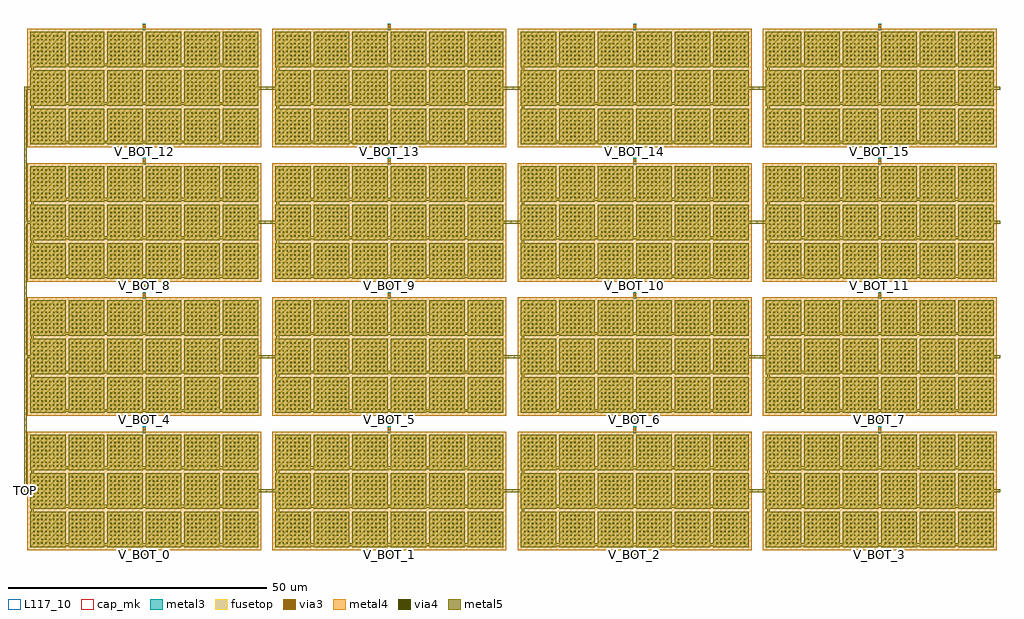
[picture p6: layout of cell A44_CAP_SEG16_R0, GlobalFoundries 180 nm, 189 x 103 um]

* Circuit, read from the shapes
.subckt A44_CAP_SEG16_R0 TOP V_BOT_0 V_BOT_1 V_BOT_10 V_BOT_11 V_BOT_12 V_BOT_13 V_BOT_14 V_BOT_15 V_BOT_2 V_BOT_3 V_BOT_4 V_BOT_5 V_BOT_6 V_BOT_7 V_BOT_8 V_BOT_9
XC1 TOP V_BOT_0 cap_mim_2f0fF c_width=6.855u c_length=6.855u m=18
XC2 TOP V_BOT_4 cap_mim_2f0fF c_width=6.855u c_length=6.855u m=18
XC3 TOP V_BOT_8 cap_mim_2f0fF c_width=6.855u c_length=6.855u m=18
XC4 TOP V_BOT_12 cap_mim_2f0fF c_width=6.855u c_length=6.855u m=18
XC5 TOP V_BOT_1 cap_mim_2f0fF c_width=6.855u c_length=6.855u m=18
XC6 TOP V_BOT_5 cap_mim_2f0fF c_width=6.855u c_length=6.855u m=18
XC7 TOP V_BOT_9 cap_mim_2f0fF c_width=6.855u c_length=6.855u m=18
XC8 TOP V_BOT_13 cap_mim_2f0fF c_width=6.855u c_length=6.855u m=18
XC9 TOP V_BOT_2 cap_mim_2f0fF c_width=6.855u c_length=6.855u m=18
XC10 TOP V_BOT_6 cap_mim_2f0fF c_width=6.855u c_length=6.855u m=18
XC11 TOP V_BOT_10 cap_mim_2f0fF c_width=6.855u c_length=6.855u m=18
XC12 TOP V_BOT_14 cap_mim_2f0fF c_width=6.855u c_length=6.855u m=18
XC13 TOP V_BOT_3 cap_mim_2f0fF c_width=6.855u c_length=6.855u m=18
XC14 TOP V_BOT_7 cap_mim_2f0fF c_width=6.855u c_length=6.855u m=18
XC15 TOP V_BOT_11 cap_mim_2f0fF c_width=6.855u c_length=6.855u m=18
XC16 TOP V_BOT_15 cap_mim_2f0fF c_width=6.855u c_length=6.855u m=18
.ends

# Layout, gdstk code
import gdstk
lib = gdstk.Library(unit=1e-6, precision=1e-09)
def R(c, l, rs):  # rectangles x0, y0, x1, y1
    for r in rs: c.add(gdstk.rectangle(r[:2], r[2:], *l))
def A(c, l, x, y, w, h, nx, ny, dx, dy):  # array of equal rectangles
    R(c, l, [(x+i*dx, y+j*dy, x+i*dx+w, y+j*dy+h) for i in range(nx) for j in range(ny)])
via3 = (40, 0)
via4 = (41, 0)
metal3 = (42, 0)
metal4 = (46, 0)
fusetop = (75, 0)
metal5 = (81, 0)
cap_mk = (117, 5)
L117_10 = (117, 10)

a44_cu_r0 = lib.new_cell('A44_CU_R0')
R(a44_cu_r0, via3, [(23.62,1.02,23.88,1.28), (23.62,24.72,23.88,24.98)])
A(a44_cu_r0, via4, 2.325, 2.76, 0.26, 0.26, 8, 8, 0.76, 0.76)
A(a44_cu_r0, via4, 9.78, 2.76, 0.26, 0.26, 8, 8, 0.76, 0.76)
A(a44_cu_r0, via4, 17.235, 2.76, 0.26, 0.26, 8, 8, 0.76, 0.76)
A(a44_cu_r0, via4, 24.69, 2.76, 0.26, 0.26, 8, 8, 0.76, 0.76)
A(a44_cu_r0, via4, 32.145, 2.76, 0.26, 0.26, 8, 8, 0.76, 0.76)
A(a44_cu_r0, via4, 39.6, 2.76, 0.26, 0.26, 8, 8, 0.76, 0.76)
A(a44_cu_r0, via4, 2.325, 10.215, 0.26, 0.26, 8, 8, 0.76, 0.76)
A(a44_cu_r0, via4, 9.78, 10.215, 0.26, 0.26, 8, 8, 0.76, 0.76)
A(a44_cu_r0, via4, 17.235, 10.215, 0.26, 0.26, 8, 8, 0.76, 0.76)
A(a44_cu_r0, via4, 24.69, 10.215, 0.26, 0.26, 8, 8, 0.76, 0.76)
A(a44_cu_r0, via4, 32.145, 10.215, 0.26, 0.26, 8, 8, 0.76, 0.76)
A(a44_cu_r0, via4, 39.6, 10.215, 0.26, 0.26, 8, 8, 0.76, 0.76)
A(a44_cu_r0, via4, 2.325, 17.67, 0.26, 0.26, 8, 8, 0.76, 0.76)
A(a44_cu_r0, via4, 9.78, 17.67, 0.26, 0.26, 8, 8, 0.76, 0.76)
A(a44_cu_r0, via4, 17.235, 17.67, 0.26, 0.26, 8, 8, 0.76, 0.76)
A(a44_cu_r0, via4, 24.69, 17.67, 0.26, 0.26, 8, 8, 0.76, 0.76)
A(a44_cu_r0, via4, 32.145, 17.67, 0.26, 0.26, 8, 8, 0.76, 0.76)
A(a44_cu_r0, via4, 39.6, 17.67, 0.26, 0.26, 8, 8, 0.76, 0.76)
R(a44_cu_r0, metal3, [(23.47,0.5,24.03,1.8), (23.47,24.2,24.03,25.5)])
A(a44_cu_r0, metal4, 1.085, 1.52, 8.055, 8.055, 6, 3, 7.455, 7.455)
R(a44_cu_r0, metal4, [(23.47,0.75,24.03,1.95), (23.47,24.05,24.03,25.25)])
A(a44_cu_r0, fusetop, 1.685, 2.12, 6.855, 6.855, 6, 3, 7.455, 7.455)
A(a44_cu_r0, metal5, 1.685, 2.12, 6.855, 6.855, 6, 3, 7.455, 7.455)
A(a44_cu_r0, metal5, 1.685, 2.32, 44.13, 0.5, 1, 3, 0, 7.455)
R(a44_cu_r0, metal5, [(1.885,2.12,2.385,23.885), (0.5,12.72,2.2,13.28), (45.3,12.72,47,13.28)])
A(a44_cu_r0, cap_mk, 1.085, 1.52, 8.055, 8.055, 6, 3, 7.455, 7.455)
A(a44_cu_r0, L117_10, 1.685, 2.12, 6.855, 0.1, 6, 3, 7.455, 7.455)
a44_cu_r0.add(gdstk.Label('VBOT', (23.75,0.75), layer=42, texttype=10))
a44_cu_r0.add(gdstk.Label('VBOT', (23.75,25.25), layer=42, texttype=10))
a44_cu_r0.add(gdstk.Label('TOP', (0.75,13), layer=81, texttype=10))
a44_cu_r0.add(gdstk.Label('TOP', (46.75,13), layer=81, texttype=10))

a44_cap_seg16_r0 = lib.new_cell('A44_CAP_SEG16_R0')
A(a44_cap_seg16_r0, metal3, 23.47, 0.5, 0.56, 0.5, 4, 4, 47.5, 26)
A(a44_cap_seg16_r0, metal5, 47, 12.72, 1, 0.56, 3, 4, 47.5, 26)
R(a44_cap_seg16_r0, metal5, [(0.5,12.72,1.06,13.28), (0.5,13,1.06,91)])
a44_cap_seg16_r0.add(gdstk.Reference(a44_cu_r0, (0,0)))
a44_cap_seg16_r0.add(gdstk.Reference(a44_cu_r0, (47.5,0)))
a44_cap_seg16_r0.add(gdstk.Reference(a44_cu_r0, (95,0)))
a44_cap_seg16_r0.add(gdstk.Reference(a44_cu_r0, (142.5,0)))
a44_cap_seg16_r0.add(gdstk.Reference(a44_cu_r0, (0,26)))
a44_cap_seg16_r0.add(gdstk.Reference(a44_cu_r0, (47.5,26)))
a44_cap_seg16_r0.add(gdstk.Reference(a44_cu_r0, (95,26)))
a44_cap_seg16_r0.add(gdstk.Reference(a44_cu_r0, (142.5,26)))
a44_cap_seg16_r0.add(gdstk.Reference(a44_cu_r0, (0,52)))
a44_cap_seg16_r0.add(gdstk.Reference(a44_cu_r0, (47.5,52)))
a44_cap_seg16_r0.add(gdstk.Reference(a44_cu_r0, (95,52)))
a44_cap_seg16_r0.add(gdstk.Reference(a44_cu_r0, (142.5,52)))
a44_cap_seg16_r0.add(gdstk.Reference(a44_cu_r0, (0,78)))
a44_cap_seg16_r0.add(gdstk.Reference(a44_cu_r0, (47.5,78)))
a44_cap_seg16_r0.add(gdstk.Reference(a44_cu_r0, (95,78)))
a44_cap_seg16_r0.add(gdstk.Reference(a44_cu_r0, (142.5,78)))
a44_cap_seg16_r0.add(gdstk.Label('V_BOT_0', (23.75,0.75), layer=42, texttype=10))
a44_cap_seg16_r0.add(gdstk.Label('V_BOT_1', (71.25,0.75), layer=42, texttype=10))
a44_cap_seg16_r0.add(gdstk.Label('V_BOT_2', (118.75,0.75), layer=42, texttype=10))
a44_cap_seg16_r0.add(gdstk.Label('V_BOT_3', (166.25,0.75), layer=42, texttype=10))
a44_cap_seg16_r0.add(gdstk.Label('V_BOT_4', (23.75,26.75), layer=42, texttype=10))
a44_cap_seg16_r0.add(gdstk.Label('V_BOT_5', (71.25,26.75), layer=42, texttype=10))
a44_cap_seg16_r0.add(gdstk.Label('V_BOT_6', (118.75,26.75), layer=42, texttype=10))
a44_cap_seg16_r0.add(gdstk.Label('V_BOT_7', (166.25,26.75), layer=42, texttype=10))
a44_cap_seg16_r0.add(gdstk.Label('V_BOT_8', (23.75,52.75), layer=42, texttype=10))
a44_cap_seg16_r0.add(gdstk.Label('V_BOT_9', (71.25,52.75), layer=42, texttype=10))
a44_cap_seg16_r0.add(gdstk.Label('V_BOT_10', (118.75,52.75), layer=42, texttype=10))
a44_cap_seg16_r0.add(gdstk.Label('V_BOT_11', (166.25,52.75), layer=42, texttype=10))
a44_cap_seg16_r0.add(gdstk.Label('V_BOT_12', (23.75,78.75), layer=42, texttype=10))
a44_cap_seg16_r0.add(gdstk.Label('V_BOT_13', (71.25,78.75), layer=42, texttype=10))
a44_cap_seg16_r0.add(gdstk.Label('V_BOT_14', (118.75,78.75), layer=42, texttype=10))
a44_cap_seg16_r0.add(gdstk.Label('V_BOT_15', (166.25,78.75), layer=42, texttype=10))
a44_cap_seg16_r0.add(gdstk.Label('TOP', (0.75,13), layer=81, texttype=10))

lib.write_gds('A44_CAP_SEG16_R0.gds')
